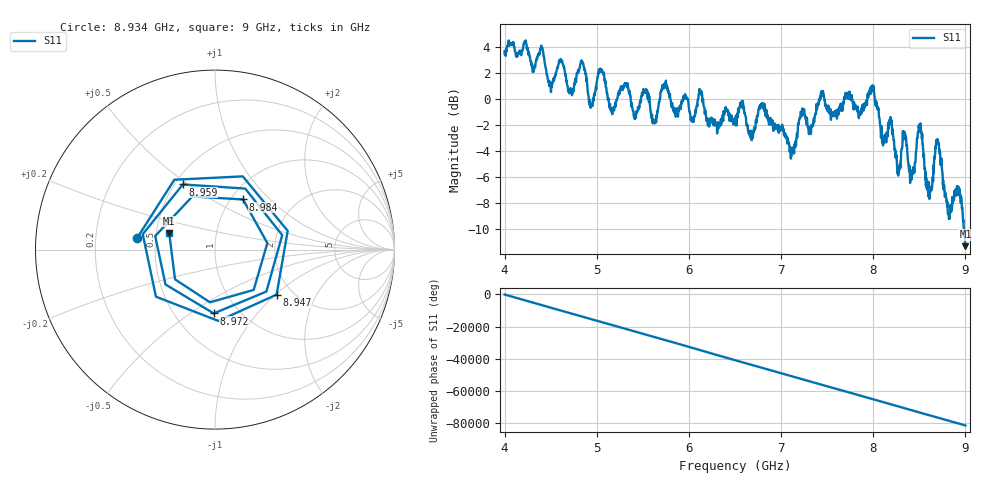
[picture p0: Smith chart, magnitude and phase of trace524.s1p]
! Created with skrf 1.8.0 (http://scikit-rf.org).
# Hz S RI R 50.0
!freq ReS11 ImS11
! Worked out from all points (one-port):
!   1601 points, 4 GHz to 9 GHz, reference 50 ohm
!   lowest |S11| = -11.3 dB at 9 GHz (marker M1), VSWR 1.75, Z = 29.2 + j5.89 ohm
!   |S11| at or under -10 dB: 8.984563 GHz to end of sweep
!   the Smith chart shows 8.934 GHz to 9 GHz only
!   S11 on the Smith chart (normalised r, x): 8.934 GHz: 0.39, +0.06; 8.947 GHz: 1.66, -1.02; 8.959 GHz: 0.55, +0.48; 8.972 GHz: 0.77, -0.62; 8.984 GHz: 1.14, +0.71; 9 GHz: 0.58, +0.12
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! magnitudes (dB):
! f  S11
! 4 GHz  3.7
! 4.625 GHz  2.9
! 4.712 GHz  0.7
! 4.847 GHz  2.8
! 4.941 GHz  -0.4
! 5.041 GHz  2.1
! 5.162 GHz  -0.8
! 5.25 GHz  0.6
! 5.875 GHz  -0.7
! 6.5 GHz  -1.7
! 6.8 GHz  -0.7
! 7.125 GHz  -3.8
! 7.438 GHz  0.6
! 7.75 GHz  0.2
! 7.988 GHz  0.8
! 8.106 GHz  -3.6
! 8.375 GHz  -4.7
! 8.425 GHz  -5.7
! 8.506 GHz  -2.1
! 8.597 GHz  -7.5
! 8.7 GHz  -3.2
! 8.816 GHz  -8.8
! 8.934 GHz  -7.2
! 8.947 GHz  -7.4
! 8.959 GHz  -7.9
! 8.972 GHz  -9.0
! 8.984 GHz  -9.9
! 9 GHz  -11.3
